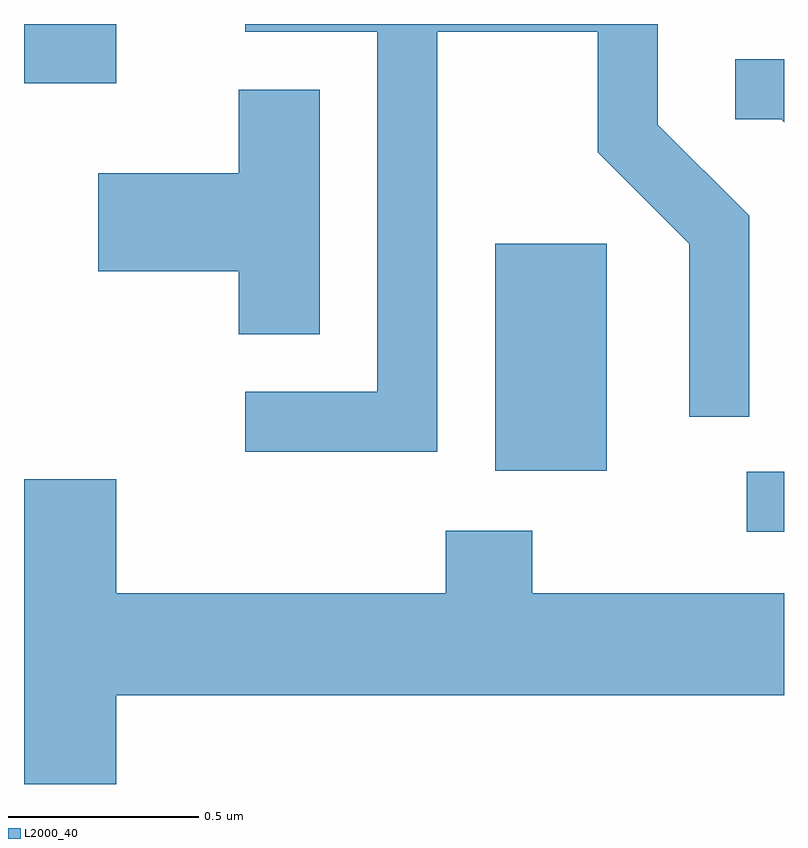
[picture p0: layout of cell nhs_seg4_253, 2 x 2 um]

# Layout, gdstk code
import gdstk
lib = gdstk.Library(unit=1e-6, precision=1e-09)
def R(c, l, rs):  # rectangles x0, y0, x1, y1
    for r in rs: c.add(gdstk.rectangle(r[:2], r[2:], *l))
def P(c, l, *ps):  # polygons
    for p in ps: c.add(gdstk.Polygon(p, *l))
L2000_40 = (2000, 40)

nhs_seg4_253 = lib.new_cell('nhs_seg4_253')
R(nhs_seg4_253, L2000_40, [(188.513,1370.646,188.611,1370.804), (187.851,1370.806,188.144,1371.404), (186.611,1371.826,186.854,1371.982)])
P(nhs_seg4_253, L2000_40, [(187.699,1371.961),(188.121,1371.961),(188.121,1371.644),(188.361,1371.404),(188.361,1370.948),(188.519,1370.948),(188.519,1371.477),(188.279,1371.717),(188.279,1371.982),(187.193,1371.982),(187.193,1371.961),(187.541,1371.961),(187.541,1371.014),(187.193,1371.014),(187.193,1370.856),(187.699,1370.856)],
  [(188.611,1371.889),(188.483,1371.889),(188.483,1371.731),(188.604,1371.731),(188.611,1371.724)],
  [(187.389,1371.809),(187.176,1371.809),(187.176,1371.589),(186.806,1371.589),(186.806,1371.331),(187.176,1371.331),(187.176,1371.166),(187.389,1371.166)],
  [(186.854,1370.216),(188.611,1370.216),(188.611,1370.484),(187.949,1370.484),(187.949,1370.649),(187.721,1370.649),(187.721,1370.484),(186.854,1370.484),(186.854,1370.784),(186.611,1370.784),(186.611,1369.982),(186.854,1369.982)])

lib.write_gds('nhs_seg4_253.gds')
